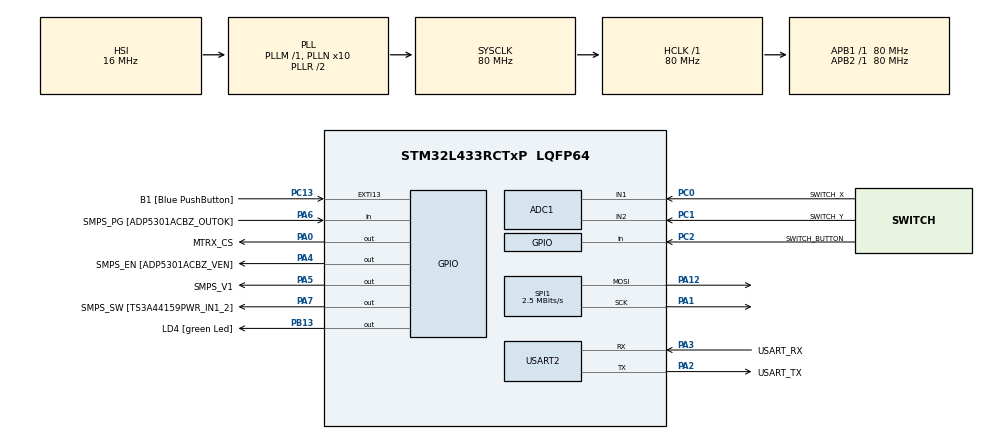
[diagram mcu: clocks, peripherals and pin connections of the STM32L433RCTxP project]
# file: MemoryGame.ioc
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ADC1.Channel-0\#ChannelRegularConversion=ADC_CHANNEL_1
ADC1.Channel-1\#ChannelRegularConversion=ADC_CHANNEL_2
ADC1.NbrOfConversion=2
ADC1.NbrOfConversionFlag=1
ADC1.OffsetNumber-0\#ChannelRegularConversion=ADC_OFFSET_NONE
ADC1.OffsetNumber-1\#ChannelRegularConversion=ADC_OFFSET_NONE
ADC1.Rank-0\#ChannelRegularConversion=1
ADC1.Rank-1\#ChannelRegularConversion=2
ADC1.SamplingTime-0\#ChannelRegularConversion=ADC_SAMPLETIME_640CYCLES_5
ADC1.SamplingTime-1\#ChannelRegularConversion=ADC_SAMPLETIME_640CYCLES_5
ADC1.master=1
Mcu.Family=STM32L4
Mcu.Name=STM32L433RCTxP
Mcu.Package=LQFP64
NVIC.PriorityGroup=NVIC_PRIORITYGROUP_4
NVIC.TIM2_IRQn=true\:0\:0\:false\:false\:true\:true\:true\:true
PA0.GPIO_Label=MTRX_CS
PA0.Signal=GPIO_Output
PA1.Mode=TX_Only_Simplex_Unidirect_Master
PA1.Signal=SPI1_SCK
PA12.Mode=TX_Only_Simplex_Unidirect_Master
PA12.Signal=SPI1_MOSI
PA13\ (JTMS-SWDIO).GPIO_Label=TMS
PA13\ (JTMS-SWDIO).Mode=Serial_Wire
PA13\ (JTMS-SWDIO).Signal=SYS_JTMS-SWDIO
PA14\ (JTCK-SWCLK).GPIO_Label=TCK
PA14\ (JTCK-SWCLK).Mode=Serial_Wire
PA14\ (JTCK-SWCLK).Signal=SYS_JTCK-SWCLK
PA2.GPIO_Label=USART_TX
PA2.GPIO_Mode=GPIO_MODE_AF_PP
PA2.GPIO_PuPd=GPIO_NOPULL
PA2.GPIO_Speed=GPIO_SPEED_FREQ_VERY_HIGH
PA2.Mode=Asynchronous
PA2.Signal=USART2_TX
PA3.GPIO_Label=USART_RX
PA3.GPIO_Mode=GPIO_MODE_AF_PP
PA3.GPIO_PuPd=GPIO_NOPULL
PA3.GPIO_Speed=GPIO_SPEED_FREQ_VERY_HIGH
PA3.Mode=Asynchronous
PA3.Signal=USART2_RX
PA4.GPIO_Label=SMPS_EN [ADP5301ACBZ_VEN]
PA4.Signal=GPIO_Output
PA5.GPIO_Label=SMPS_V1
PA5.GPIO_ModeDefaultOutputPP=GPIO_MODE_OUTPUT_PP
PA5.GPIO_PuPd=GPIO_NOPULL
PA5.GPIO_Speed=GPIO_SPEED_FREQ_LOW
PA5.Signal=GPIO_Output
PA6.GPIO_Label=SMPS_PG [ADP5301ACBZ_OUTOK]
PA6.GPIO_PuPd=GPIO_PULLUP
PA6.Signal=GPIO_Input
PA7.GPIO_Label=SMPS_SW [TS3A44159PWR_IN1_2]
PA7.Signal=GPIO_Output
PB13.GPIO_Label=LD4 [green Led]
PB13.Signal=GPIO_Output
PB3\ (JTDO-TRACESWO).GPIO_Label=SWO
PB3\ (JTDO-TRACESWO).Signal=SYS_JTDO-SWO
PC0.GPIO_Label=SWITCH_X
PC0.Signal=ADCx_IN1
PC1.GPIO_Label=SWITCH_Y
PC1.Signal=ADCx_IN2
PC13.GPIO_Label=B1 [Blue PushButton]
PC13.GPIO_ModeDefaultEXTI=GPIO_MODE_IT_FALLING
PC13.GPIO_PuPd=GPIO_NOPULL
PC13.Signal=GPXTI13
PC14-OSC32_IN\ (PC14).Mode=LSE-External-Oscillator
PC14-OSC32_IN\ (PC14).Signal=RCC_OSC32_IN
PC15-OSC32_OUT\ (PC15).Mode=LSE-External-Oscillator
PC15-OSC32_OUT\ (PC15).Signal=RCC_OSC32_OUT
PC2.GPIO_Label=SWITCH_BUTTON
PC2.Signal=GPIO_Input
PH0-OSC_IN\ (PH0).GPIO_Label=MCO
PH0-OSC_IN\ (PH0).Mode=HSE-External-Clock-Source
PH0-OSC_IN\ (PH0).Signal=RCC_OSC_IN
PH1-OSC_OUT\ (PH1).Signal=RCC_OSC_OUT
ProjectManager.HeapSize=0x200
ProjectManager.StackSize=0x400
ProjectManager.TargetToolchain=STM32CubeIDE
RCC.ADCFreq_Value=64000000
RCC.AHBFreq_Value=80000000
RCC.APB1Freq_Value=80000000
RCC.APB1TimFreq_Value=80000000
RCC.APB2Freq_Value=80000000
RCC.APB2TimFreq_Value=80000000
RCC.CortexFreq_Value=80000000
RCC.HCLKFreq_Value=80000000
RCC.HSE_VALUE=8000000
RCC.HSI48_VALUE=48000000
RCC.HSI_VALUE=16000000
RCC.MSI_VALUE=4000000
RCC.PLLN=10
RCC.PLLSAI1Q=RCC_PLLQ_DIV4
RCC.PLLSourceVirtual=RCC_PLLSOURCE_HSI
RCC.PREFETCH_ENABLE=1
RCC.SYSCLKFreq_VALUE=80000000
RCC.SYSCLKSource=RCC_SYSCLKSOURCE_PLLCLK
RCC.USBFreq_Value=32000000
RCC.VCOOutputFreq_Value=160000000
SH.ADCx_IN1.0=ADC1_IN1,IN1-Single-Ended
SH.ADCx_IN2.0=ADC1_IN2,IN2-Single-Ended
SPI1.BaudRatePrescaler=SPI_BAUDRATEPRESCALER_32
SPI1.CalculateBaudRate=2.5 MBits/s
SPI1.DataSize=SPI_DATASIZE_8BIT
SPI1.Direction=SPI_DIRECTION_2LINES
SPI1.Mode=SPI_MODE_MASTER
SPI1.VirtualType=VM_MASTER
TIM2.Period=999
TIM2.Prescaler=79
USART2.VirtualMode-Asynchronous=VM_ASYNC
VP_RNG_VS_RNG.Mode=RNG_Activate
VP_TIM2_VS_ClockSourceINT.Mode=Internal
board=NUCLEO-L433RC-P

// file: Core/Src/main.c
/* USER CODE BEGIN Header */
/**
 ******************************************************************************
 * @file           : main.c
 * @brief          : Main program body
 ******************************************************************************
 * @attention
 *
 * Copyright (c) 2026 STMicroelectronics.
 * All rights reserved.
 *
 * This software is licensed under terms that can be found in the LICENSE file
 * in the root directory of this software component.
 * If no LICENSE file comes with this software, it is provided AS-IS.
 *
 ******************************************************************************
 */
/* USER CODE END Header */
#include "main.h"

/* USER CODE BEGIN Includes */
#include "max7219.h"
#include <stdlib.h>
#include "stm32l4xx_hal.h"
/* USER CODE END Includes */

/* USER CODE BEGIN PD */
#define ADC_CENTER_LOW   1500
#define ADC_CENTER_HIGH  2500

#define THRESHOLD_LOW    500
#define THRESHOLD_HIGH   3500
/* USER CODE END PD */

ADC_HandleTypeDef hadc1;

RNG_HandleTypeDef hrng;

SPI_HandleTypeDef hspi1;

TIM_HandleTypeDef htim2;

UART_HandleTypeDef huart2;

/* USER CODE BEGIN PV */
extern SPI_HandleTypeDef hspi1;

/*
 * do this for timing
	uint32_t start_time = tick;
	if ((tick - start_time) >= 1000) {

    	start_time = tick;
	}
 */
volatile uint32_t tick = 0;
uint32_t game_start_time = 0; // Add this line

typedef enum {
	STATE_MENU,
	STATE_PLAYING,
	STATE_GAME_OVER
} GameState;

GameState current_state = STATE_MENU;

uint8_t myMatrix[8][8] = {
		{1, 0, 1, 0, 0, 1, 0, 1},
		{0, 1, 0, 1, 1, 0, 1, 0},
		{1, 0, 1, 0, 0, 1, 0, 1},
		{0, 1, 0, 1, 1, 0, 1, 0},
		{0, 1, 0, 1, 1, 0, 1, 0},
		{1, 0, 1, 0, 0, 1, 0, 1},
		{0, 1, 0, 1, 1, 0, 1, 0},
		{1, 0, 1, 0, 0, 1, 0, 1}
};

uint8_t solutionMatrix[8][8] = {};

uint8_t current_row = 0;
uint8_t current_col = 0;

bool axis_locked_x = false;
bool axis_locked_y = false;
bool button_locked = false;

uint8_t last_score = 0;

// A 3x5 pixel font for numbers 0-9
const uint8_t font3x5[10][5] = {
		{0b111, 0b101, 0b101, 0b101, 0b111}, // 0
		{0b010, 0b110, 0b010, 0b010, 0b111}, // 1
		{0b111, 0b001, 0b111, 0b100, 0b111}, // 2
		{0b111, 0b001, 0b111, 0b001, 0b111}, // 3
		{0b101, 0b101, 0b111, 0b001, 0b001}, // 4
		{0b111, 0b100, 0b111, 0b001, 0b111}, // 5
		{0b111, 0b100, 0b111, 0b101, 0b111}, // 6
		{0b111, 0b001, 0b010, 0b010, 0b010}, // 7
		{0b111, 0b101, 0b111, 0b101, 0b111}, // 8
		{0b111, 0b101, 0b111, 0b001, 0b111}  // 9
};
/* USER CODE END PV */

void SystemClock_Config(void);
void PeriphCommonClock_Config(void);
static void MX_GPIO_Init(void);
static void MX_ADC1_Init(void);
static void MX_SPI1_Init(void);
static void MX_USART2_UART_Init(void);
static void MX_TIM2_Init(void);
static void MX_RNG_Init(void);

/* USER CODE BEGIN 0 */

void custom_delay(uint32_t delay_ms) {
	uint32_t start_time = tick;
	while ((tick - start_time) < delay_ms) {
		// Block and wait
	}
}

void Display_Matix(uint8_t matrix[8][8])
{
	for (uint8_t row = 0; row < 8; row++)
	{
		uint8_t rowByte = 0x00;

		for (uint8_t col = 0; col < 8; col++)
		{
			if (matrix[7 - col][7 - row] == 1)
			{
				rowByte |= (1 << (7 - col));
			}
		}
		MAX7219_Digit(0, row, rowByte);
	}
}

void show_Solution(void) {
	Display_Matix(solutionMatrix);
	custom_delay(1500);

	for (int8_t i = 5; i >= 0; i--) {
		MAX7219_Intensity(0, i);
		custom_delay(1000);
	}

	MAX7219_Intensity(0, 0x05);
}

void Randomize_pattern(uint8_t matrix[8][8]){
    uint32_t true_rand_seed = 0;
    for (uint8_t r = 0; r < 8; r++)
    {
        for (uint8_t c = 0; c < 8; c++)
        {
            if (HAL_RNG_GenerateRandomNumber(&hrng, &true_rand_seed) == HAL_OK) {
                matrix[r][c] = true_rand_seed % 2;
            } else {
                matrix[r][c] = HAL_GetTick() % 2;
            }
        }
    }
}

void draw_score(uint8_t score) {
	uint8_t tempMatrix[8][8] = {0};

	uint8_t tens = score / 10;
	uint8_t ones = score % 10;

	for (uint8_t r = 0; r < 5; r++) {
		tempMatrix[r + 1][7] = (font3x5[tens][r] >> 2) & 1;
		tempMatrix[r + 1][6] = (font3x5[tens][r] >> 1) & 1;
		tempMatrix[r + 1][5] = (font3x5[tens][r] >> 0) & 1;

		tempMatrix[r + 1][3] = (font3x5[ones][r] >> 2) & 1;
		tempMatrix[r + 1][2] = (font3x5[ones][r] >> 1) & 1;
		tempMatrix[r + 1][1] = (font3x5[ones][r] >> 0) & 1;
	}

	Display_Matix(tempMatrix);
}

void animate_score_reveal(uint8_t final_score) {
	for (uint8_t display_score = 0; display_score <= final_score; display_score++) {
		draw_score(display_score);

		uint32_t delay_ms = 100;
		uint8_t distance = final_score - display_score;

		if (distance == 3) {
			delay_ms = 300;
		} else if (distance == 2) {
			delay_ms = 600;
		} else if (distance == 1) {
			delay_ms = 1000;
		} else if (distance == 0) {
			delay_ms = 0;
		}

		if (delay_ms > 0) {
			HAL_Delay(delay_ms);
		}
	}
}

void render_game(void) {
	uint8_t tempMatrix[8][8];

	for (uint8_t r = 0; r < 8; r++) {
		for (uint8_t c = 0; c < 8; c++) {
			tempMatrix[r][c] = myMatrix[r][c];
		}
	}

	bool blink_state = ((tick % 500) < 250);

	if (blink_state) {
		tempMatrix[current_row][current_col] ^= 1;
	}

	Display_Matix(tempMatrix);
}

void setup_Game(){
	for (uint8_t r = 0; r < 8; r++) {
		for (uint8_t c = 0; c < 8; c++) {
			myMatrix[r][c] = 0;
		}
	}
	Randomize_pattern(solutionMatrix);

}

void toggle_Circle(uint8_t row, uint8_t col){
	myMatrix[row][col] = (myMatrix[row][col] + 1) % 2;
}

void button_select(void) {

	switch (current_state) {
	case STATE_MENU:
		setup_Game();
		show_Solution();

		current_state = STATE_PLAYING;
		game_start_time = tick;
		break;

	case STATE_PLAYING:
		toggle_Circle(current_row, current_col);
		break;

	case STATE_GAME_OVER:
		// Clears the screen and returns to the menu
		for(uint8_t i = 0; i < 8; i++) {
			MAX7219_Digit(0, i, 0xFF);
			HAL_Delay(400);
			MAX7219_Digit(0, i, 0x00);
		}

		animate_score_reveal(last_score);

		current_state = STATE_MENU;
		break;
	}
}

void move_up(void) {
	switch (current_state) {
	case STATE_MENU:
		// Do nothing
		break;

	case STATE_PLAYING:
		// Move player cursor up on the 8x8 matrix
		if(current_row > 0){
			current_row--;
		}
		break;

	case STATE_GAME_OVER:
		// Do nothing
		break;
	}
}

void move_down(void) {
	switch (current_state) {
	case STATE_MENU:
		// Do nothing
		break;

	case STATE_PLAYING:
		// Move player cursor down on the 8x8 matrix
		if(current_row < 7){
			current_row++;
		}
		break;

	case STATE_GAME_OVER:
		// Do nothing
		break;
	}
}

void move_left(void) {
	switch (current_state) {
	case STATE_MENU:
		// Do nothing
		break;

	case STATE_PLAYING:
		// Move player cursor left on the 8x8 matrix
		if(current_col > 0){
			current_col--;
		}
		break;

	case STATE_GAME_OVER:
		// Do nothing
		break;
	}
}

void move_right(void) {
	switch (current_state) {
	case STATE_MENU:
		// Do nothing
		break;

	case STATE_PLAYING:
		// Move player cursor right on the 8x8 matrix
		if(current_col < 7){
			current_col++;
		}
		break;

	case STATE_GAME_OVER:
		// Do nothing
		break;
	}
}

void process_joystick(uint16_t adc_x, uint16_t adc_y, bool button_pressed) {

	// X Axis (Left / Right) Inverted
	if (adc_x < THRESHOLD_LOW && !axis_locked_x) {
		move_right();
		axis_locked_x = true;
	}
	else if (adc_x > THRESHOLD_HIGH && !axis_locked_x) {
		move_left();
		axis_locked_x = true;
	}
	// Unlock axis when the stick returns to the center deadzone
	else if (adc_x > ADC_CENTER_LOW && adc_x < ADC_CENTER_HIGH) {
		axis_locked_x = false;
	}

	// Y Axis (Up / Down) Inverted
	if (adc_y < THRESHOLD_LOW && !axis_locked_y) {
		move_down();
		axis_locked_y = true;
	}
	else if (adc_y > THRESHOLD_HIGH && !axis_locked_y) {
		move_up();
		axis_locked_y = true;
	}
	else if (adc_y > ADC_CENTER_LOW && adc_y < ADC_CENTER_HIGH) {
		axis_locked_y = false;
	}

	// Button (Click)
	if (button_pressed && !button_locked) {
		button_select();
		button_locked = true;
	}
	else if (!button_pressed) {
		button_locked = false;
	}
}

void check_Pattern(){
	int8_t temp_score = 0;
	int8_t temp_wrong = 0;

	for (uint8_t r = 0; r < 8; r++)
	{
		for (uint8_t c = 0; c < 8; c++)
		{
			if(myMatrix[r][c] == 1 && solutionMatrix[r][c] == 1){
				temp_score++;
				myMatrix[r][c] = 1;
			} else if(myMatrix[r][c] == 1 && solutionMatrix[r][c] == 0){
				temp_wrong++;
				myMatrix[r][c] = 0;
			} else {
				myMatrix[r][c] = 0;
			}
		}
	}

	temp_score = temp_score - (temp_wrong/2);

	if (temp_score < 0) {
		last_score = 0;
	} else {
		last_score = (uint8_t)temp_score;
	}

	HAL_Delay(5000);
}

void clear_Screen(){
	for(uint8_t i = 0; i < 8; i++) {
		MAX7219_Digit(0, i, 0xFF);
		HAL_Delay(500);
		MAX7219_Digit(0, i, 0x00);
	}
}

void HAL_TIM_PeriodElapsedCallback(TIM_HandleTypeDef *htim) {
	if (htim->Instance == TIM2) {
		//1 tick = 1 millisecond
		tick++;
	}
}

/* USER CODE END 0 */

int main(void)
{

  /* MCU Configuration--------------------------------------------------------*/

  /* Reset of all peripherals, Initializes the Flash interface and the Systick. */
  HAL_Init();

  /* Configure the system clock */
  SystemClock_Config();

  /* Configure the peripherals common clocks */
  PeriphCommonClock_Config();

  /* Initialize all configured peripherals */
  MX_GPIO_Init();
  MX_ADC1_Init();
  MX_SPI1_Init();
  MX_USART2_UART_Init();
  MX_TIM2_Init();
  MX_RNG_Init();
  /* USER CODE BEGIN 2 */

	MAX7219_Init(&hspi1, MTRX_CS_GPIO_Port, MTRX_CS_Pin);
	MAX7219_ShutDown(0, 1);    	// Wake up chip from sleep (1 = normal operation)
	MAX7219_Decode(0, 0x00);   	// Set to raw matrix mode (Disable 7-segment decoding)
	MAX7219_ScanLimit(0, 0x07);	// Tell chip to drive all 8 rows
	MAX7219_Intensity(0, 0x05);	// Set brightness level (0x00 min to 0x0F max)
	MAX7219_Test(0, 0);

	clear_Screen();

	HAL_TIM_Base_Start_IT(&htim2);

	uint32_t last_input_time = 0;
	uint32_t last_render_time = 0;

	// how long you have to answer in ms.
	uint32_t game_timeout_time = 30000;

  /* USER CODE END 2 */

  /* Infinite loop */
  /* USER CODE BEGIN WHILE */
	while (1)
	{
		// INPUT POLLING (Every 50ms)
		if ((tick - last_input_time) >= 50) {
			last_input_time = tick;

			HAL_ADC_Start(&hadc1);
			HAL_ADC_PollForConversion(&hadc1, 10);
			uint16_t adc_y = HAL_ADC_GetValue(&hadc1);

			HAL_ADC_PollForConversion(&hadc1, 10);
			uint16_t adc_x = HAL_ADC_GetValue(&hadc1);
			HAL_ADC_Stop(&hadc1);

			bool button_pressed = (HAL_GPIO_ReadPin(GPIOC, GPIO_PIN_2) == GPIO_PIN_RESET);
			process_joystick(adc_x, adc_y, button_pressed);
		}

		// TIMEOUT CHECK (dependent on game_timeout_time)
		if (current_state == STATE_PLAYING) {
			if ((tick - game_start_time) >= game_timeout_time) {
				current_state = STATE_GAME_OVER;

				check_Pattern();

				Display_Matix(myMatrix);
			}
		}

		// DISPLAY RENDERING (Every 20ms / 50Hz)
		if ((tick - last_render_time) >= 20) {
			last_render_time = tick;

			if (current_state == STATE_PLAYING) {
				render_game();
			} else if (current_state == STATE_MENU) {
				draw_score(last_score);
			}
		}

    /* USER CODE END WHILE */

	}
}

void SystemClock_Config(void)
{
  RCC_OscInitTypeDef RCC_OscInitStruct = {0};
  RCC_ClkInitTypeDef RCC_ClkInitStruct = {0};

  /** Configure the main internal regulator output voltage
  */
  if (HAL_PWREx_ControlVoltageScaling(PWR_REGULATOR_VOLTAGE_SCALE1) != HAL_OK)
  {
    Error_Handler();
  }

  /** Initializes the RCC Oscillators according to the specified parameters
  * in the RCC_OscInitTypeDef structure.
  */
  RCC_OscInitStruct.OscillatorType = RCC_OSCILLATORTYPE_HSI;
  RCC_OscInitStruct.HSIState = RCC_HSI_ON;
  RCC_OscInitStruct.HSICalibrationValue = RCC_HSICALIBRATION_DEFAULT;
  RCC_OscInitStruct.PLL.PLLState = RCC_PLL_ON;
  RCC_OscInitStruct.PLL.PLLSource = RCC_PLLSOURCE_HSI;
  RCC_OscInitStruct.PLL.PLLM = 1;
  RCC_OscInitStruct.PLL.PLLN = 10;
  RCC_OscInitStruct.PLL.PLLP = RCC_PLLP_DIV7;
  RCC_OscInitStruct.PLL.PLLQ = RCC_PLLQ_DIV2;
  RCC_OscInitStruct.PLL.PLLR = RCC_PLLR_DIV2;
  if (HAL_RCC_OscConfig(&RCC_OscInitStruct) != HAL_OK)
  {
    Error_Handler();
  }

  /** Initializes the CPU, AHB and APB buses clocks
  */
  RCC_ClkInitStruct.ClockType = RCC_CLOCKTYPE_HCLK|RCC_CLOCKTYPE_SYSCLK
                              |RCC_CLOCKTYPE_PCLK1|RCC_CLOCKTYPE_PCLK2;
  RCC_ClkInitStruct.SYSCLKSource = RCC_SYSCLKSOURCE_PLLCLK;
  RCC_ClkInitStruct.AHBCLKDivider = RCC_SYSCLK_DIV1;
  RCC_ClkInitStruct.APB1CLKDivider = RCC_HCLK_DIV1;
  RCC_ClkInitStruct.APB2CLKDivider = RCC_HCLK_DIV1;

  if (HAL_RCC_ClockConfig(&RCC_ClkInitStruct, FLASH_LATENCY_4) != HAL_OK)
  {
    Error_Handler();
  }
}

void PeriphCommonClock_Config(void)
{
  RCC_PeriphCLKInitTypeDef PeriphClkInit = {0};

  /** Initializes the peripherals clock
  */
  PeriphClkInit.PeriphClockSelection = RCC_PERIPHCLK_RNG|RCC_PERIPHCLK_ADC;
  PeriphClkInit.AdcClockSelection = RCC_ADCCLKSOURCE_PLLSAI1;
  PeriphClkInit.RngClockSelection = RCC_RNGCLKSOURCE_PLLSAI1;
  PeriphClkInit.PLLSAI1.PLLSAI1Source = RCC_PLLSOURCE_HSI;
  PeriphClkInit.PLLSAI1.PLLSAI1M = 1;
  PeriphClkInit.PLLSAI1.PLLSAI1N = 8;
  PeriphClkInit.PLLSAI1.PLLSAI1P = RCC_PLLP_DIV7;
  PeriphClkInit.PLLSAI1.PLLSAI1Q = RCC_PLLQ_DIV4;
  PeriphClkInit.PLLSAI1.PLLSAI1R = RCC_PLLR_DIV2;
  PeriphClkInit.PLLSAI1.PLLSAI1ClockOut = RCC_PLLSAI1_48M2CLK|RCC_PLLSAI1_ADC1CLK;
  if (HAL_RCCEx_PeriphCLKConfig(&PeriphClkInit) != HAL_OK)
  {
    Error_Handler();
  }
}

static void MX_ADC1_Init(void)
{

  ADC_ChannelConfTypeDef sConfig = {0};

  /** Common config
  */
  hadc1.Instance = ADC1;
  hadc1.Init.ClockPrescaler = ADC_CLOCK_ASYNC_DIV1;
  hadc1.Init.Resolution = ADC_RESOLUTION_12B;
  hadc1.Init.DataAlign = ADC_DATAALIGN_RIGHT;
  hadc1.Init.ScanConvMode = ADC_SCAN_ENABLE;
  hadc1.Init.EOCSelection = ADC_EOC_SINGLE_CONV;
  hadc1.Init.LowPowerAutoWait = DISABLE;
  hadc1.Init.ContinuousConvMode = DISABLE;
  hadc1.Init.NbrOfConversion = 2;
  hadc1.Init.DiscontinuousConvMode = DISABLE;
  hadc1.Init.ExternalTrigConv = ADC_SOFTWARE_START;
  hadc1.Init.ExternalTrigConvEdge = ADC_EXTERNALTRIGCONVEDGE_NONE;
  hadc1.Init.DMAContinuousRequests = DISABLE;
  hadc1.Init.Overrun = ADC_OVR_DATA_PRESERVED;
  hadc1.Init.OversamplingMode = DISABLE;
  if (HAL_ADC_Init(&hadc1) != HAL_OK)
  {
    Error_Handler();
  }

  /** Configure Regular Channel
  */
  sConfig.Channel = ADC_CHANNEL_1;
  sConfig.Rank = ADC_REGULAR_RANK_1;
  sConfig.SamplingTime = ADC_SAMPLETIME_640CYCLES_5;
  sConfig.SingleDiff = ADC_SINGLE_ENDED;
  sConfig.OffsetNumber = ADC_OFFSET_NONE;
  sConfig.Offset = 0;
  if (HAL_ADC_ConfigChannel(&hadc1, &sConfig) != HAL_OK)
  {
    Error_Handler();
  }

  /** Configure Regular Channel
  */
  sConfig.Channel = ADC_CHANNEL_2;
  sConfig.Rank = ADC_REGULAR_RANK_2;
  if (HAL_ADC_ConfigChannel(&hadc1, &sConfig) != HAL_OK)
  {
    Error_Handler();
  }

}

static void MX_RNG_Init(void)
{

  hrng.Instance = RNG;
  if (HAL_RNG_Init(&hrng) != HAL_OK)
  {
    Error_Handler();
  }

}

static void MX_SPI1_Init(void)
{

  /* SPI1 parameter configuration*/
  hspi1.Instance = SPI1;
  hspi1.Init.Mode = SPI_MODE_MASTER;
  hspi1.Init.Direction = SPI_DIRECTION_2LINES;
  hspi1.Init.DataSize = SPI_DATASIZE_8BIT;
  hspi1.Init.CLKPolarity = SPI_POLARITY_LOW;
  hspi1.Init.CLKPhase = SPI_PHASE_1EDGE;
  hspi1.Init.NSS = SPI_NSS_SOFT;
  hspi1.Init.BaudRatePrescaler = SPI_BAUDRATEPRESCALER_32;
  hspi1.Init.FirstBit = SPI_FIRSTBIT_MSB;
  hspi1.Init.TIMode = SPI_TIMODE_DISABLE;
  hspi1.Init.CRCCalculation = SPI_CRCCALCULATION_DISABLE;
  hspi1.Init.CRCPolynomial = 7;
  hspi1.Init.CRCLength = SPI_CRC_LENGTH_DATASIZE;
  hspi1.Init.NSSPMode = SPI_NSS_PULSE_ENABLE;
  if (HAL_SPI_Init(&hspi1) != HAL_OK)
  {
    Error_Handler();
  }

}

static void MX_TIM2_Init(void)
{

  TIM_ClockConfigTypeDef sClockSourceConfig = {0};
  TIM_MasterConfigTypeDef sMasterConfig = {0};

  htim2.Instance = TIM2;
  htim2.Init.Prescaler = 79;
  htim2.Init.CounterMode = TIM_COUNTERMODE_UP;
  htim2.Init.Period = 999;
  htim2.Init.ClockDivision = TIM_CLOCKDIVISION_DIV1;
  htim2.Init.AutoReloadPreload = TIM_AUTORELOAD_PRELOAD_DISABLE;
  if (HAL_TIM_Base_Init(&htim2) != HAL_OK)
  {
    Error_Handler();
  }
  sClockSourceConfig.ClockSource = TIM_CLOCKSOURCE_INTERNAL;
  if (HAL_TIM_ConfigClockSource(&htim2, &sClockSourceConfig) != HAL_OK)
  {
    Error_Handler();
  }
  sMasterConfig.MasterOutputTrigger = TIM_TRGO_RESET;
  sMasterConfig.MasterSlaveMode = TIM_MASTERSLAVEMODE_DISABLE;
  if (HAL_TIMEx_MasterConfigSynchronization(&htim2, &sMasterConfig) != HAL_OK)
  {
    Error_Handler();
  }

}

static void MX_USART2_UART_Init(void)
{

  huart2.Instance = USART2;
  huart2.Init.BaudRate = 115200;
  huart2.Init.WordLength = UART_WORDLENGTH_8B;
  huart2.Init.StopBits = UART_STOPBITS_1;
  huart2.Init.Parity = UART_PARITY_NONE;
  huart2.Init.Mode = UART_MODE_TX_RX;
  huart2.Init.HwFlowCtl = UART_HWCONTROL_NONE;
  huart2.Init.OverSampling = UART_OVERSAMPLING_16;
  huart2.Init.OneBitSampling = UART_ONE_BIT_SAMPLE_DISABLE;
  huart2.AdvancedInit.AdvFeatureInit = UART_ADVFEATURE_NO_INIT;
  if (HAL_UART_Init(&huart2) != HAL_OK)
  {
    Error_Handler();
  }

}

static void MX_GPIO_Init(void)
{
  GPIO_InitTypeDef GPIO_InitStruct = {0};

  /* GPIO Ports Clock Enable */
  __HAL_RCC_GPIOC_CLK_ENABLE();
  __HAL_RCC_GPIOH_CLK_ENABLE();
  __HAL_RCC_GPIOA_CLK_ENABLE();
  __HAL_RCC_GPIOB_CLK_ENABLE();

  /*Configure GPIO pin Output Level */
  HAL_GPIO_WritePin(GPIOA, MTRX_CS_Pin|SMPS_EN_Pin|SMPS_V1_Pin|SMPS_SW_Pin, GPIO_PIN_RESET);

  /*Configure GPIO pin Output Level */
  HAL_GPIO_WritePin(LD4_GPIO_Port, LD4_Pin, GPIO_PIN_RESET);

  /*Configure GPIO pin : B1_Pin */
  GPIO_InitStruct.Pin = B1_Pin;
  GPIO_InitStruct.Mode = GPIO_MODE_IT_FALLING;
  GPIO_InitStruct.Pull = GPIO_NOPULL;
  HAL_GPIO_Init(B1_GPIO_Port, &GPIO_InitStruct);

  /*Configure GPIO pin : SWITCH_BUTTON_Pin */
  GPIO_InitStruct.Pin = SWITCH_BUTTON_Pin;
  GPIO_InitStruct.Mode = GPIO_MODE_INPUT;
  GPIO_InitStruct.Pull = GPIO_NOPULL;
  HAL_GPIO_Init(SWITCH_BUTTON_GPIO_Port, &GPIO_InitStruct);

  /*Configure GPIO pins : MTRX_CS_Pin SMPS_EN_Pin SMPS_V1_Pin SMPS_SW_Pin */
  GPIO_InitStruct.Pin = MTRX_CS_Pin|SMPS_EN_Pin|SMPS_V1_Pin|SMPS_SW_Pin;
  GPIO_InitStruct.Mode = GPIO_MODE_OUTPUT_PP;
  GPIO_InitStruct.Pull = GPIO_NOPULL;
  GPIO_InitStruct.Speed = GPIO_SPEED_FREQ_LOW;
  HAL_GPIO_Init(GPIOA, &GPIO_InitStruct);

  /*Configure GPIO pin : SMPS_PG_Pin */
  GPIO_InitStruct.Pin = SMPS_PG_Pin;
  GPIO_InitStruct.Mode = GPIO_MODE_INPUT;
  GPIO_InitStruct.Pull = GPIO_PULLUP;
  HAL_GPIO_Init(SMPS_PG_GPIO_Port, &GPIO_InitStruct);

  /*Configure GPIO pin : LD4_Pin */
  GPIO_InitStruct.Pin = LD4_Pin;
  GPIO_InitStruct.Mode = GPIO_MODE_OUTPUT_PP;
  GPIO_InitStruct.Pull = GPIO_NOPULL;
  GPIO_InitStruct.Speed = GPIO_SPEED_FREQ_LOW;
  HAL_GPIO_Init(LD4_GPIO_Port, &GPIO_InitStruct);

}

void Error_Handler(void)
{
	__disable_irq();
	while (1)
	{
	}
}
